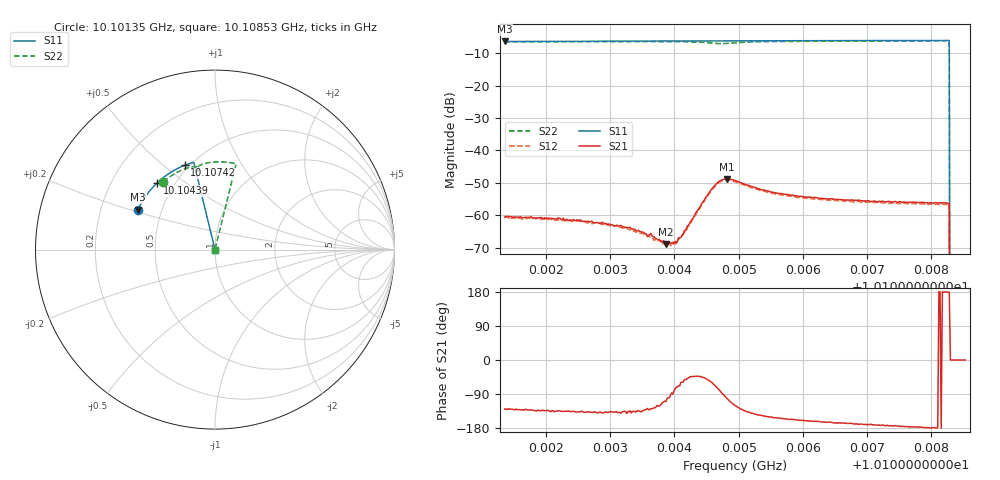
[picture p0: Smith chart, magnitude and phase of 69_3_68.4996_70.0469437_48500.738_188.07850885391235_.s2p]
#  HZ  S  RI  R  50.00
! Rohde & Schwarz Vector Network Analyzer
! Rohde-Schwarz,ZNB20-2Port,1311601062101988,3.16
! Created: UTC 3/20/2024, 5:06:50 PM
! freq[Hz]  re:S11  im:S11  re:S21  im:S21  re:S12  im:S12  re:S22  im:S22
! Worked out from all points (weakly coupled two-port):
!   401 points, 10.10135 GHz to 10.10853 GHz, reference 50 ohm
!   highest |S21| = -48.80 dB at 10.10482 GHz (marker M1); lowest = -69.0 dB at 10.10387 GHz (marker M2)
!   lowest |S11| = -6.3 dB at 10.10135 GHz (marker M3), VSWR 2.87, Z = 18.3 + j10.7 ohm
!   |S11| at or under -10 dB: 10.10828 GHz to end of sweep
!   |S22| runs from - to -6.1 dB; largest |S21 - S12| = 0.00036
!   S11 on the Smith chart (normalised r, x): 10.10135 GHz: 0.37, +0.21; 10.10439 GHz: 0.40, +0.39; 10.10742 GHz: 0.47, +0.59; 10.10853 GHz: 1.00, +0.00
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1.0101354e10  -0.4283 0.2231  -0.000594 -0.000715  -0.000536 -0.000772  -0.289 0.3774
1.0102557e10  -0.3929 0.287  -0.00058 -0.000574  -0.000542 -0.000582  -0.225 0.4226
1.0103275e10  -0.3674 0.3223  -0.000456 -0.000442  -0.000415 -0.000462  -0.1823 0.4444
1.0103651e10  -0.3526 0.3398  -0.000302 -0.000374  -0.000238 -0.000369  -0.1581 0.4539
1.0103759e10  -0.3484 0.3449  -0.000233 -0.000367  -0.000167 -0.000373  -0.1507 0.4563
1.0103867e10  -0.344 0.3496  -0.000122 -0.000334  -6.06e-05 -0.000328  -0.1431 0.4584
1.0103992e10  -0.3389 0.3551  5.45e-05 -0.000367  7.3e-05 -0.000367  -0.1338 0.4605
1.0104064e10  -0.3359 0.3583  0.000166 -0.000413  0.000198 -0.000374  -0.1284 0.4615
1.010419e10  -0.3303 0.3637  0.000402 -0.000498  0.000423 -0.000425  -0.1181 0.4624
1.0104387e10  -0.3216 0.372  0.000936 -0.000906  0.000954 -0.000775  -0.1008 0.46
1.0104513e10  -0.3161 0.3772  0.00125 -0.00157  0.00135 -0.0014  -0.0909 0.4536
1.0104638e10  -0.3105 0.3821  0.0011 -0.00272  0.00128 -0.00251  -0.0876 0.4431
1.0104728e10  -0.3064 0.3857  0.000294 -0.00346  0.000598 -0.00326  -0.0923 0.4381
1.0104818e10  -0.3024 0.3891  -0.00072 -0.00356  -0.000404 -0.00348  -0.0987 0.4402
1.0104943e10  -0.2966 0.394  -0.0017 -0.00296  -0.00142 -0.003  -0.1007 0.4507
1.0105518e10  -0.2691 0.4152  -0.00196 -0.00111  -0.00181 -0.00124  -0.0639 0.4781
1.0106146e10  -0.2371 0.436  -0.00177 -0.000586  -0.00165 -0.000713  -0.0205 0.4863
1.0107348e10  -0.1721 0.4684  -0.00163 -0.000185  -0.0015 -0.000304  0.0584 0.487
1.010742e10  -0.1681 0.47  -0.00161 -0.000175  -0.0015 -0.000319  0.0632 0.4865
1.0108245e10  -0.1208 0.4859  -0.00154 2.62e-05  -0.00145 -0.000145  0.1156 0.4789
1.0108335e10  0 0  0 0  0 0  0 0
1.0108532e10  0 0  0 0  0 0  0 0
